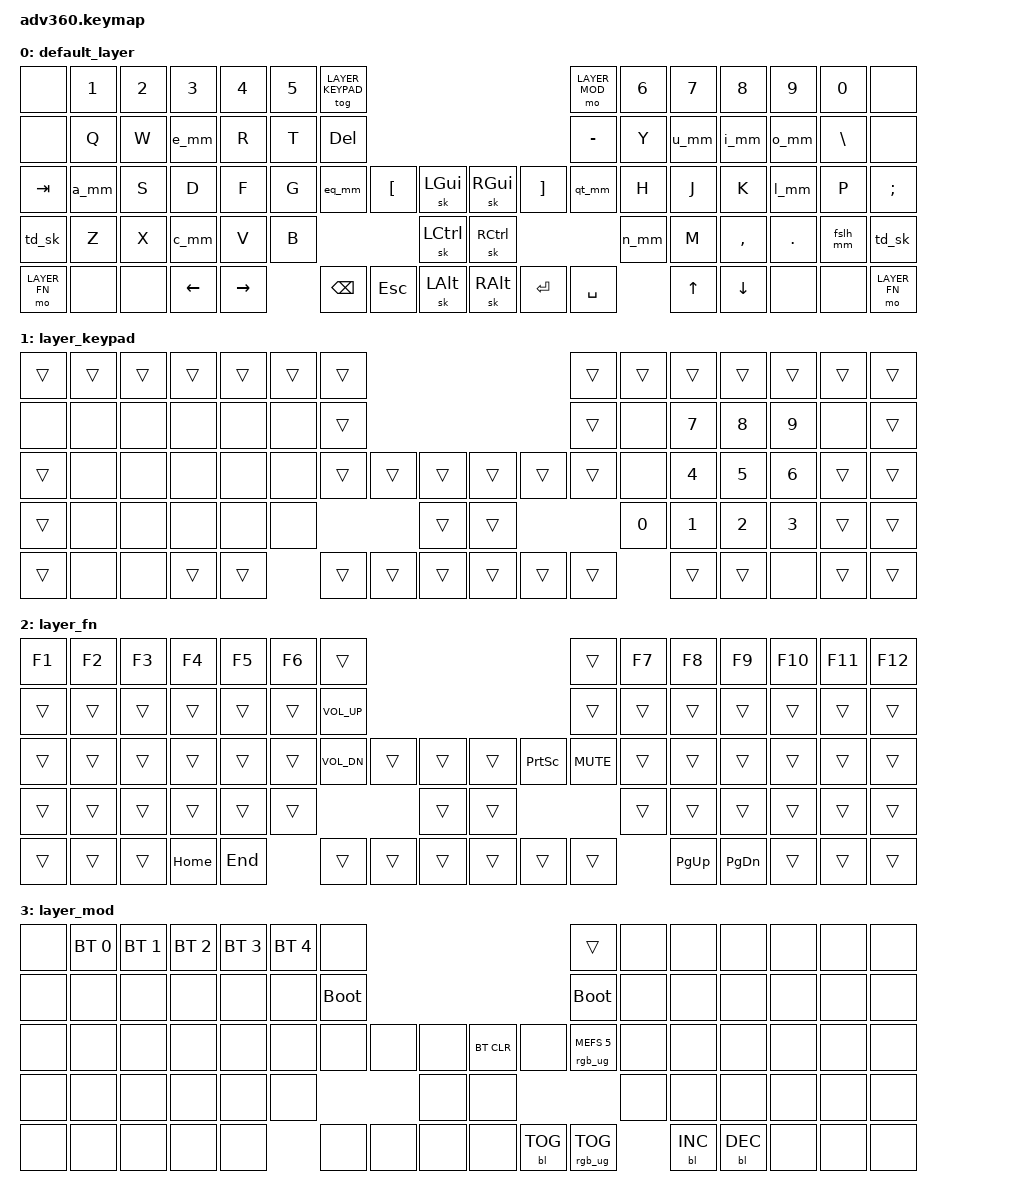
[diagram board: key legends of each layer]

/*
 * Copyright (c) 2020 The ZMK Contributors
 *
 * SPDX-License-Identifier: MIT
 */

#include <behaviors.dtsi>
#include <dt-bindings/zmk/keys.h>
#include <dt-bindings/zmk/bt.h>
#include <dt-bindings/zmk/rgb.h>
#include <dt-bindings/zmk/backlight.h>

// Human readable names for the layers
#define LAYER_DEFAULT 0
#define LAYER_KEYPAD  1
#define LAYER_FN      2
#define LAYER_MOD     3

/ {
    macros {
        // Grave accent by it's own
        grave: grave {
            compatible = "zmk,behavior-macro";
            #binding-cells = <0>;
            bindings = <&macro_tap &kp GRAVE &kp GRAVE>;
        };

        // Tilde by it's own
        tilde: tilde {
            compatible = "zmk,behavior-macro";
            #binding-cells = <0>;
            bindings
                = <&macro_press &kp LSHFT>
                , <&macro_tap &kp GRAVE &kp GRAVE>
                , <&macro_release &kp LSHFT>
                ;
        };

        // double L: "l·l"
        double_l: double_l {
            compatible = "zmk,behavior-macro";
            #binding-cells = <0>;
            bindings = <&macro_tap &kp L &kp RA(X) &kp L>;
        };

        // letter A with the grave accent
        a_grave: a_grave {
            compatible = "zmk,behavior-macro";
            #binding-cells = <0>;
            bindings = <&macro_tap &kp GRAVE &kp A>;
        };

        // letter A with the accute accent
        a_accute: a_accute {
            compatible = "zmk,behavior-macro";
            #binding-cells = <0>;
            bindings = <&macro_tap &kp APOS &kp A>;
        };

        // letter O with the grave accent
        o_grave: o_grave {
            compatible = "zmk,behavior-macro";
            #binding-cells = <0>;
            bindings = <&macro_tap &kp GRAVE &kp O>;
        };

        // letter O with the accute accent
        o_accute: o_accute {
            compatible = "zmk,behavior-macro";
            #binding-cells = <0>;
            bindings = <&macro_tap &kp APOS &kp O>;
        };

        // letter E with the grave accent
        e_grave: e_grave {
            compatible = "zmk,behavior-macro";
            #binding-cells = <0>;
            bindings = <&macro_tap &kp GRAVE &kp E>;
        };

        // letter E with the accute accent
        e_accute: e_accute {
            compatible = "zmk,behavior-macro";
            #binding-cells = <0>;
            bindings = <&macro_tap &kp APOS &kp E>;
        };

        // letter I with the dieresis
        i_umlaut: i_umlaut {
            compatible = "zmk,behavior-macro";
            #binding-cells = <0>;
            bindings = <&macro_tap &kp LS(APOS) &kp I>;
        };

        // letter I with the accute accent
        i_accute: i_accute {
            compatible = "zmk,behavior-macro";
            #binding-cells = <0>;
            bindings = <&macro_tap &kp APOS &kp I>;
        };

        // letter U with the dieresis
        u_umlaut: u_umlaut {
            compatible = "zmk,behavior-macro";
            #binding-cells = <0>;
            bindings = <&macro_tap &kp LS(APOS) &kp U>;
        };

        // letter U with the accute accent
        u_accute: u_accute {
            compatible = "zmk,behavior-macro";
            #binding-cells = <0>;
            bindings = <&macro_tap &kp APOS &kp U>;
        };
    };

    behaviors {
        // Shift to toggle between caps
        td_sk: tap_dance_sticky_key {
            compatible = "zmk,behavior-tap-dance";
            #binding-cells = <0>;
            tapping-term-ms = <200>;
            bindings = <&sk LSHIFT>, <&kp CAPSLOCK>;
        };

        // Single key to write tilde, equals and plus
        eq_mm: equal_mod_morph {
            compatible = "zmk,behavior-mod-morph";
            #binding-cells = <0>;
            bindings = <&kp EQUAL>, <&tilde>;
            mods = <(MOD_RALT)>;
        };

        // Single, double quotes and the grave accent
        qt_mm: quotes_mod_morph {
            compatible = "zmk,behavior-mod-morph";
            #binding-cells = <0>;
            bindings = <&kp RA(SQT)>, <&grave>;
            mods = <(MOD_LALT)>;
        };

        // When pressed the LALT will trigger the "ñ"
        n_mm: n_mod_morph {
            compatible = "zmk,behavior-mod-morph";
            #binding-cells = <0>;
            bindings = <&kp N>, <&kp RA(N)>;
            mods = <(MOD_LALT)>;
        };

        // When pressed the RALT will trigger the "ç"
        c_mm: c_mod_morph {
            compatible = "zmk,behavior-mod-morph";
            #binding-cells = <0>;
            bindings = <&kp C>, <&kp RA(COMMA)>;
            mods = <(MOD_RALT)>;
        };

        // When pressed the RALT will trigger the "l·l"
        l_mm: l_mod_morph {
            compatible = "zmk,behavior-mod-morph";
            #binding-cells = <0>;
            bindings = <&kp L>, <&double_l>;
            mods = <(MOD_LALT)>;
        };

        // Depending on the ALT key press, will output
        // the letter A with the accute accent or the grave accent
        a_mm1: a_mod_morph_1 {
            compatible = "zmk,behavior-mod-morph";
            #binding-cells = <0>;
            bindings = <&a_grave>, <&a_accute>;
            mods = <(MOD_RALT)>;
        };

        // Oututs the letter or with an accent
        a_mm: a_mod_morph {
            compatible = "zmk,behavior-mod-morph";
            #binding-cells = <0>;
            bindings = <&kp A>, <&a_mm1>;
            mods = <(MOD_LALT|MOD_RALT)>;
        };

        // Depending on the ALT key press, will output
        // the letter O with the accute accent or the grave accent
        o_mm1: o_mod_morph_1 {
            compatible = "zmk,behavior-mod-morph";
            #binding-cells = <0>;
            bindings = <&o_grave>, <&o_accute>;
            mods = <(MOD_RALT)>;
        };

        // Oututs the letter or with an accent
        o_mm: o_mod_morph {
            compatible = "zmk,behavior-mod-morph";
            #binding-cells = <0>;
            bindings = <&kp O>, <&o_mm1>;
            mods = <(MOD_LALT|MOD_RALT)>;
        };

        // Depending on the ALT key press, will output
        // the letter E with the accute accent or the grave accent
        e_mm1: e_mod_morph_1 {
            compatible = "zmk,behavior-mod-morph";
            #binding-cells = <0>;
            bindings = <&e_grave>, <&e_accute>;
            mods = <(MOD_RALT)>;
        };

        // Oututs the letter or with an accent
        e_mm: e_mod_morph {
            compatible = "zmk,behavior-mod-morph";
            #binding-cells = <0>;
            bindings = <&kp E>, <&e_mm1>;
            mods = <(MOD_LALT|MOD_RALT)>;
        };

        // Depending on the ALT key press, will output
        // the letter I with the accute accent or the dieresis
        i_mm1: i_mod_morph_1 {
            compatible = "zmk,behavior-mod-morph";
            #binding-cells = <0>;
            bindings = <&i_umlaut>, <&i_accute>;
            mods = <(MOD_RALT)>;
        };

        // Oututs the letter or with an accent
        i_mm: i_mod_morph {
            compatible = "zmk,behavior-mod-morph";
            #binding-cells = <0>;
            bindings = <&kp I>, <&i_mm1>;
            mods = <(MOD_LALT|MOD_RALT)>;
        };

        // Depending on the ALT key press, will output
        // the letter U with the accute accent or the dieresis
        u_mm1: u_mod_morph_1 {
            compatible = "zmk,behavior-mod-morph";
            #binding-cells = <0>;
            bindings = <&u_umlaut>, <&u_accute>;
            mods = <(MOD_RALT)>;
        };

        // Oututs the letter or with an accent
        u_mm: u_mod_morph {
            compatible = "zmk,behavior-mod-morph";
            #binding-cells = <0>;
            bindings = <&kp U>, <&u_mm1>;
            mods = <(MOD_LALT|MOD_RALT)>;
        };

        // Outputs "/" or when holding LALT "¿"
        fslh_mm: fslh_mod_morph {
            compatible = "zmk,behavior-mod-morph";
            #binding-cells = <0>;
            bindings = <&kp FSLH>, <&kp RA(FSLH)>;
            mods = <(MOD_LALT)>;
        };
    };

    keymap {
        compatible = "zmk,keymap";

        default_layer {
            // RA(N1) = ¡
            bindings = <
                &none        &kp N1       &kp N2       &kp N3       &kp N4       &kp N5       &tog LAYER_KEYPAD                                                &mo LAYER_MOD          &kp N6    &kp N7        &kp N8        &kp N9    &kp N0   &none
                &none        &kp Q        &kp W        &e_mm        &kp R        &kp T        &kp DEL                                                          &kp MINUS              &kp Y     &u_mm         &i_mm         &o_mm     &kp BSLH &none
                &kp TAB      &a_mm        &kp S        &kp D        &kp F        &kp G        &eq_mm            &kp LBKT  &sk LGUI  &sk RGUI   &kp RBKT        &qt_mm                 &kp H     &kp J         &kp K         &l_mm     &kp P    &kp SEMI
                &td_sk       &kp Z        &kp X        &c_mm        &kp V        &kp B                                    &sk LCTRL &sk RCTRL                                         &n_mm     &kp M         &kp COMMA     &kp DOT   &fslh_mm &td_sk
                &mo LAYER_FN &none        &none        &kp LEFT     &kp RIGHT                 &kp BSPC          &kp ESC   &sk LALT  &sk RALT   &kp ENTER       &kp SPACE                        &kp UP        &kp DOWN      &none     &none    &mo LAYER_FN
            >;
        };

        layer_keypad {
            bindings = <
                &trans       &trans       &trans       &trans       &trans       &trans       &trans                                                           &trans                 &trans    &trans        &trans        &trans    &trans   &trans
                &none        &none        &none        &none        &none        &none        &trans                                                           &trans                 &none     &kp N7        &kp N8        &kp N9    &none    &trans
                &trans       &none        &none        &none        &none        &none        &trans            &trans    &trans    &trans     &trans          &trans                 &none     &kp N4        &kp N5        &kp N6    &trans   &trans
                &trans       &none        &none        &none        &none        &none                                    &trans    &trans                                            &kp N0    &kp N1        &kp N2        &kp N3    &trans   &trans
                &trans       &none        &none        &trans       &trans                    &trans            &trans    &trans    &trans     &trans          &trans                           &trans        &trans        &none     &trans   &trans
            >;
        };

        layer_fn {
            bindings = <
                &kp F1       &kp F2       &kp F3       &kp F4       &kp F5       &kp F6       &trans                                                           &trans                 &kp F7    &kp F8        &kp F9        &kp F10   &kp F11  &kp F12
                &trans       &trans       &trans       &trans       &trans       &trans       &kp C_VOL_UP                                                     &trans                 &trans    &trans        &trans        &trans    &trans   &trans
                &trans       &trans       &trans       &trans       &trans       &trans       &kp C_VOL_DN      &trans    &trans    &trans     &kp PRINTSCREEN &kp C_MUTE             &trans    &trans        &trans        &trans    &trans   &trans
                &trans       &trans       &trans       &trans       &trans       &trans                                   &trans    &trans                                            &trans    &trans        &trans        &trans    &trans   &trans
                &trans       &trans       &trans       &kp HOME     &kp END                   &trans            &trans    &trans    &trans     &trans          &trans                           &kp PAGE_UP   &kp PAGE_DOWN &trans    &trans   &trans
            >;
        };

        layer_mod {
            bindings = <
                &none        &bt BT_SEL 0 &bt BT_SEL 1 &bt BT_SEL 2 &bt BT_SEL 3 &bt BT_SEL 4 &none                                                            &trans                 &none     &none       &none           &none     &none    &none
                &none        &none        &none        &none        &none        &none        &bootloader                                                      &bootloader            &none     &none       &none           &none     &none    &none
                &none        &none        &none        &none        &none        &none        &none             &none     &none     &bt BT_CLR &none           &rgb_ug RGB_MEFS_CMD 5 &none     &none       &none           &none     &none    &none
                &none        &none        &none        &none        &none        &none                                    &none     &none                                             &none     &none       &none           &none     &none    &none
                &none        &none        &none        &none        &none                     &none             &none     &none     &none      &bl BL_TOG      &rgb_ug RGB_TOG                  &bl BL_INC  &bl BL_DEC      &none     &none    &none
            >;
        };
    };
};
